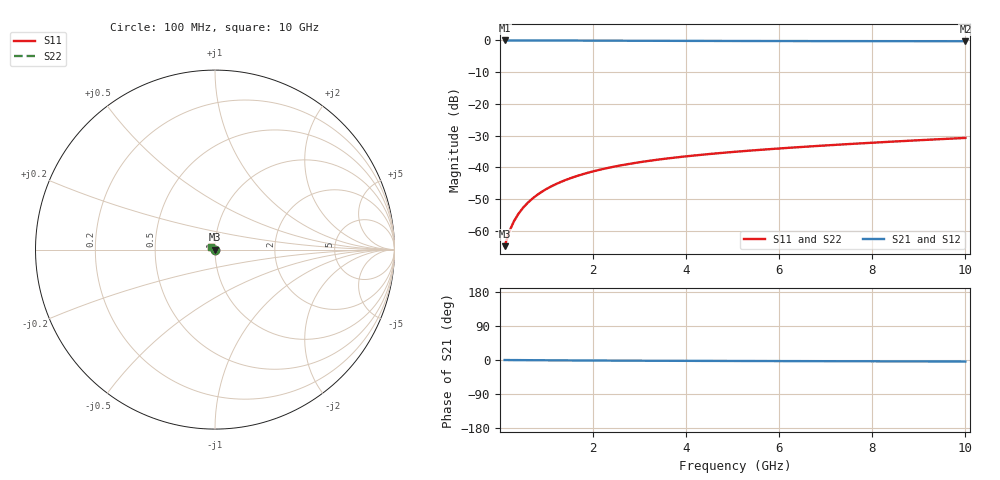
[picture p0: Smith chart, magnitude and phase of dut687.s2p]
! Touchstone file exported from HFSS 2024.1.0
!  File:  C:/UserFiles/LocalFiles/RDL_TSV_Batchsim/temp_TSV1_687_1779795830.aedt
!  Generated:  07:53:51 PM May 26, 2026
!  Design:  TSV1
!  Project:  temp_TSV1_687_1779795830
!  Setup:  Setup1
!  Solution:  Sweep
! Variables:
!  dtsv = 5.7um
!  hbump = 3um
!  htsv = 56.26um
!  lrdl = 252.1521522um
!  p = 40
!  p1 = 47.85um
!  t = 500um
!  trdl = 3um
!  wrdl = 24.89489489um
# GHz S MA R 50.000000
! Terminal data exported
! Port[1] = TSV22_T1
! Port[2] = TSV22_T2
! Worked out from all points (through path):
!   100 points, 100 MHz to 10 GHz, reference 50 ohm
!   highest |S21| = 0.00 dB at 100 MHz (marker M1); lowest = -0.2 dB at 10 GHz (marker M2)
!   lowest |S11| = -64.8 dB at 100 MHz (marker M3), VSWR 1.00, Z = 50 - j0.0471 ohm
!   |S11| at or under -10 dB: start of sweep to end of sweep
!   |S22| runs from -64.8 to -30.7 dB; largest |S21 - S12| = 8.6e-15
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0.1  0.0005754 -55.0  0.9996 -0.1  0.9996 -0.1  0.0005754 -55.0
! Gamma 0 0 0 0
! Port Impedance 50 0 50 0
0.2  0.0009794 -74.1  0.9996 -0.2  0.9996 -0.2  0.0009794 -74.1
0.3  0.001421 -83.2  0.9995 -0.2  0.9995 -0.2  0.001421 -83.2
0.4  0.001874 -89.0  0.9993 -0.3  0.9993 -0.3  0.001874 -89.0
0.5  0.00233 -93.4  0.9991 -0.4  0.9991 -0.4  0.00233 -93.4
0.6  0.002787 -97.0  0.9989 -0.5  0.9989 -0.5  0.002787 -97.0
0.7  0.003242 -100.2  0.9987 -0.5  0.9987 -0.5  0.003242 -100.2
0.8  0.003694 -103.1  0.9984 -0.6  0.9984 -0.6  0.003694 -103.1
0.9  0.004141 -105.9  0.9981 -0.7  0.9981 -0.7  0.004141 -105.9
1.1  0.00502 -110.9  0.9974 -0.8  0.9974 -0.8  0.00502 -110.9
1.4  0.006295 -118.0  0.9962 -1.0  0.9962 -1.0  0.006295 -118.0
1.6  0.007112 -122.4  0.9954 -1.1  0.9954 -1.1  0.007112 -122.4
1.8  0.007901 -126.6  0.9944 -1.3  0.9944 -1.3  0.007901 -126.6
2.1  0.009033 -132.7  0.993 -1.4  0.993 -1.4  0.009033 -132.7
2.5  0.01045 -140.2  0.9911 -1.6  0.9911 -1.6  0.01045 -140.2
2.9  0.01176 -147.2  0.9892 -1.8  0.9892 -1.8  0.01176 -147.2
3.4  0.01328 -155.2  0.9869 -2.0  0.9869 -2.0  0.01328 -155.2
4.2  0.01548 -166.5  0.9837 -2.3  0.9837 -2.3  0.01548 -166.5
5.1  0.01775 -177.4  0.9807 -2.6  0.9807 -2.6  0.01775 -177.4
6.7  0.02151 167.2  0.9769 -3.1  0.9769 -3.1  0.02151 167.2
8.4  0.02542 154.9  0.9741 -3.5  0.9741 -3.5  0.02542 154.9
10  0.02916 145.9  0.9723 -4.0  0.9723 -4.0  0.02916 145.9
